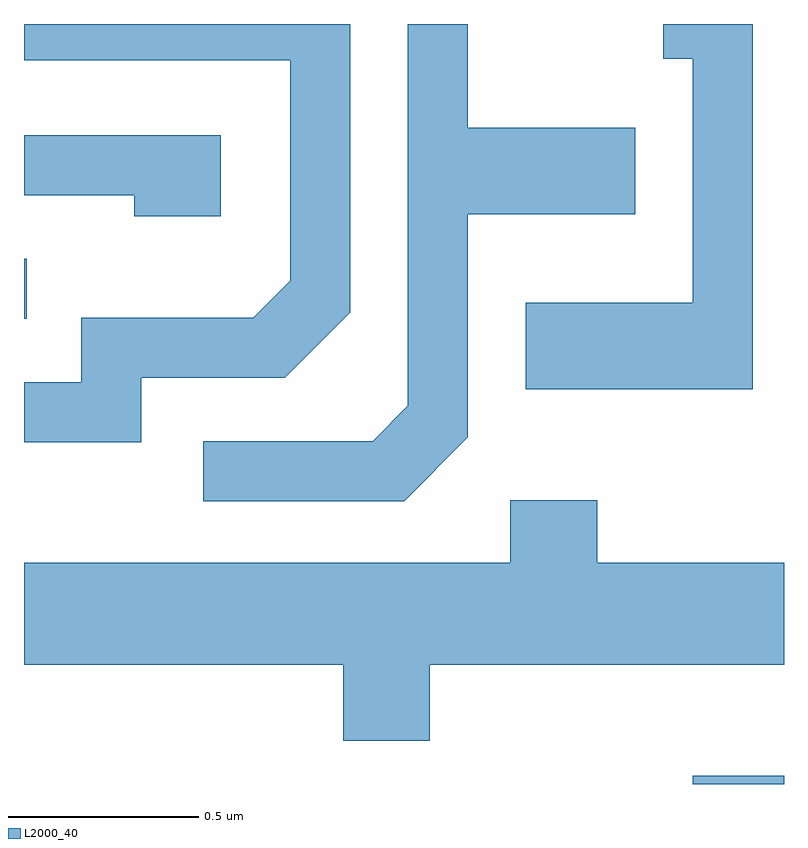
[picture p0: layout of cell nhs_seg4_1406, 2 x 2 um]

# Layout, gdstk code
import gdstk
lib = gdstk.Library(unit=1e-6, precision=1e-09)
def R(c, l, rs):  # rectangles x0, y0, x1, y1
    for r in rs: c.add(gdstk.rectangle(r[:2], r[2:], *l))
def P(c, l, *ps):  # polygons
    for p in ps: c.add(gdstk.Polygon(p, *l))
L2000_40 = (2000, 40)

nhs_seg4_1406 = lib.new_cell('nhs_seg4_1406')
R(nhs_seg4_1406, L2000_40, [(197.371,1289.982,197.611,1290.004), (195.611,1291.206,195.618,1291.364)])
P(nhs_seg4_1406, L2000_40, [(196.779,1290.894),(196.779,1291.481),(197.219,1291.481),(197.219,1291.709),(196.779,1291.709),(196.779,1291.982),(196.621,1291.982),(196.621,1290.977),(196.529,1290.884),(196.083,1290.884),(196.083,1290.726),(196.612,1290.726)],
  [(195.919,1291.051),(196.297,1291.051),(196.469,1291.224),(196.469,1291.982),(195.611,1291.982),(195.611,1291.886),(196.311,1291.886),(196.311,1291.307),(196.214,1291.209),(195.761,1291.209),(195.761,1291.039),(195.611,1291.039),(195.611,1290.881),(195.919,1290.881)],
  [(197.529,1291.982),(197.293,1291.982),(197.293,1291.891),(197.371,1291.891),(197.371,1291.249),(196.931,1291.249),(196.931,1291.021),(197.529,1291.021)],
  [(196.129,1291.689),(195.611,1291.689),(195.611,1291.531),(195.901,1291.531),(195.901,1291.476),(196.129,1291.476)],
  [(196.679,1290.296),(197.611,1290.296),(197.611,1290.564),(197.119,1290.564),(197.119,1290.729),(196.891,1290.729),(196.891,1290.564),(195.611,1290.564),(195.611,1290.296),(196.451,1290.296),(196.451,1290.096),(196.679,1290.096)])

lib.write_gds('nhs_seg4_1406.gds')
